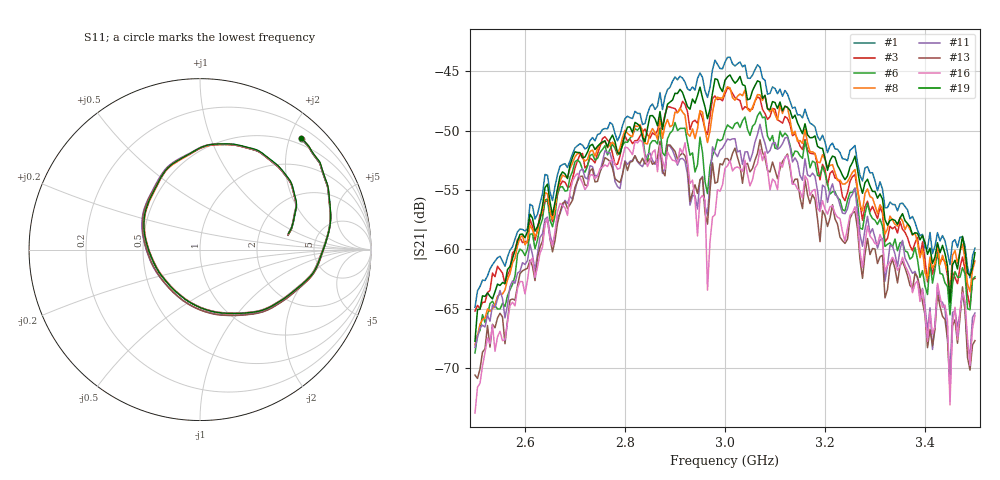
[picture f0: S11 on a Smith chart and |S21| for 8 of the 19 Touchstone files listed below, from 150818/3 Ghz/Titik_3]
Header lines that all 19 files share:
# Hz S RI R 50
! CMT, C1220, 16058040, 17.2.0/1
! Data: Format (Calibration Info)
! Freq  S11: Re/Im (F2)  S21: Re/Im (F2)  S12: Re/Im (F2)  S22: Re/Im (F2)
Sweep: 2.5 GHz to 3.5 GHz
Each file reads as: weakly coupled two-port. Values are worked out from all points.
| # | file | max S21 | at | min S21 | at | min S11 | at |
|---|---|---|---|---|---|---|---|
| 1 | Sudut_10_Titik_3.s2p | -43.81 dB | 3.01 GHz | -64.9 dB | 2.5 GHz | -11.4 dB | 2.975 GHz |
| 2 | Sudut_40_Titik_3.s2p | -45.55 dB | 3.005 GHz | -63.9 dB | 2.5 GHz | -11.0 dB | 2.975 GHz |
| 3 | Sudut_50_Titik_3.s2p | -46.39 dB | 3.005 GHz | -65.2 dB | 2.5 GHz | -10.9 dB | 2.975 GHz |
| 4 | Sudut_60_Titik_3.s2p | -47.37 dB | 3.01 GHz | -67.6 dB | 3.45 GHz | -11.0 dB | 2.975 GHz |
| 5 | Sudut_110_Titik_3.s2p | -49.61 dB | 2.87 GHz | -70.2 dB | 2.505 GHz | -11.0 dB | 2.975 GHz |
| 6 | Sudut_140_Titik_3.s2p | -48.42 dB | 3.07 GHz | -68.7 dB | 2.5 GHz | -11.3 dB | 2.975 GHz |
| 7 | Sudut_160_Titik_3.s2p | -46.92 dB | 3.04 GHz | -68.7 dB | 2.5 GHz | -11.4 dB | 2.975 GHz |
| 8 | Sudut_170_Titik_3.s2p | -46.29 dB | 3.005 GHz | -68.0 dB | 2.5 GHz | -11.4 dB | 2.975 GHz |
| 9 | Sudut_180_Titik_3.s2p | -46.20 dB | 3.01 GHz | -67.7 dB | 2.5 GHz | -11.4 dB | 2.975 GHz |
| 10 | Sudut_200_Titik_3.s2p | -47.78 dB | 3.01 GHz | -68.2 dB | 3.45 GHz | -11.1 dB | 2.975 GHz |
| 11 | Sudut_220_Titik_3.s2p | -49.46 dB | 3.07 GHz | -70.9 dB | 3.45 GHz | -10.9 dB | 2.975 GHz |
| 12 | Sudut_230_Titik_3.s2p | -50.17 dB | 3.07 GHz | -72.2 dB | 3.45 GHz | -10.9 dB | 2.975 GHz |
| 13 | Sudut_240_Titik_3.s2p | -50.76 dB | 3.07 GHz | -71.9 dB | 3.45 GHz | -10.9 dB | 2.975 GHz |
| 14 | Sudut_250_Titik_3.s2p | -50.94 dB | 2.915 GHz | -72.6 dB | 2.505 GHz | -10.9 dB | 2.975 GHz |
| 15 | Sudut_260_Titik_3.s2p | -50.51 dB | 2.87 GHz | -74.7 dB | 2.51 GHz | -10.9 dB | 2.975 GHz |
| 16 | Sudut_300_Titik_3.s2p | -50.78 dB | 2.83 GHz | -73.8 dB | 2.5 GHz | -11.4 dB | 2.975 GHz |
| 17 | Sudut_320_Titik_3.s2p | -49.84 dB | 2.89 GHz | -71.7 dB | 2.5 GHz | -11.5 dB | 2.975 GHz |
| 18 | Sudut_330_Titik_3.s2p | -48.18 dB | 3.065 GHz | -69.0 dB | 2.5 GHz | -11.4 dB | 2.975 GHz |
| 19 | Sudut_350_Titik_3.s2p | -45.30 dB | 3.01 GHz | -67.7 dB | 2.5 GHz | -11.4 dB | 2.975 GHz |
